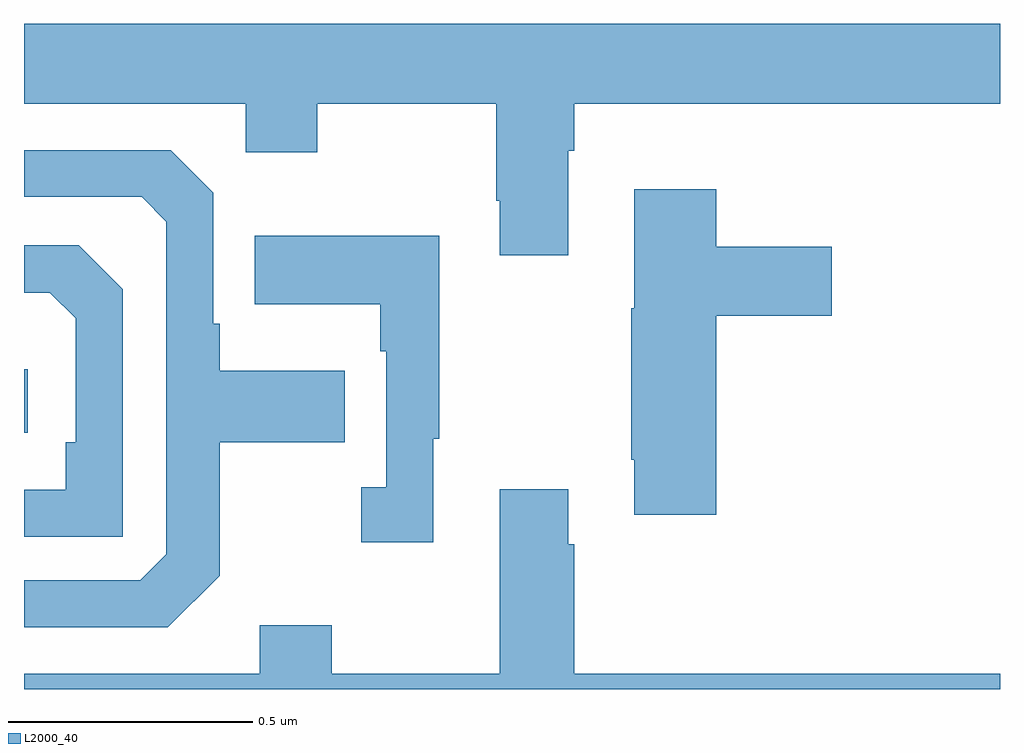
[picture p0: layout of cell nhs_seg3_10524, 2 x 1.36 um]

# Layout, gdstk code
import gdstk
lib = gdstk.Library(unit=1e-6, precision=1e-09)
def R(c, l, rs):  # rectangles x0, y0, x1, y1
    for r in rs: c.add(gdstk.rectangle(r[:2], r[2:], *l))
def P(c, l, *ps):  # polygons
    for p in ps: c.add(gdstk.Polygon(p, *l))
L2000_40 = (2000, 40)

nhs_seg3_10524 = lib.new_cell('nhs_seg3_10524')
R(nhs_seg3_10524, L2000_40, [(242,682.926,242.008,683.056)])
P(nhs_seg3_10524, L2000_40, [(243.115,683.504),(243.128,683.504),(243.128,683.6),(244,683.6),(244,683.764),(242,683.764),(242,683.6),(242.454,683.6),(242.454,683.501),(242.601,683.501),(242.601,683.6),(242.968,683.6),(242.968,683.401),(242.975,683.401),(242.975,683.289),(243.115,683.289)],
  [(242.401,682.633),(242.401,682.906),(242.657,682.906),(242.657,683.053),(242.401,683.053),(242.401,683.149),(242.388,683.149),(242.388,683.418),(242.301,683.505),(242,683.505),(242,683.409),(242.241,683.409),(242.292,683.358),(242.292,682.677),(242.238,682.623),(242,682.623),(242,682.527),(242.295,682.527)],
  [(243.419,683.165),(243.655,683.165),(243.655,683.307),(243.419,683.307),(243.419,683.425),(243.251,683.425),(243.251,683.181),(243.244,683.181),(243.244,682.87),(243.251,682.87),(243.251,682.758),(243.419,682.758)],
  [(242.839,682.913),(242.851,682.913),(242.851,683.329),(242.473,683.329),(242.473,683.189),(242.73,683.189),(242.73,683.093),(242.742,683.093),(242.742,682.814),(242.691,682.814),(242.691,682.701),(242.839,682.701)],
  [(242.202,683.22),(242.112,683.31),(242,683.31),(242,683.213),(242.053,683.213),(242.106,683.16),(242.106,682.906),(242.086,682.906),(242.086,682.809),(242,682.809),(242,682.713),(242.202,682.713)],
  [(244,682.432),(243.128,682.432),(243.128,682.697),(243.115,682.697),(243.115,682.81),(242.975,682.81),(242.975,682.432),(242.631,682.432),(242.631,682.531),(242.483,682.531),(242.483,682.432),(242,682.432),(242,682.4),(244,682.4)])

lib.write_gds('nhs_seg3_10524.gds')
